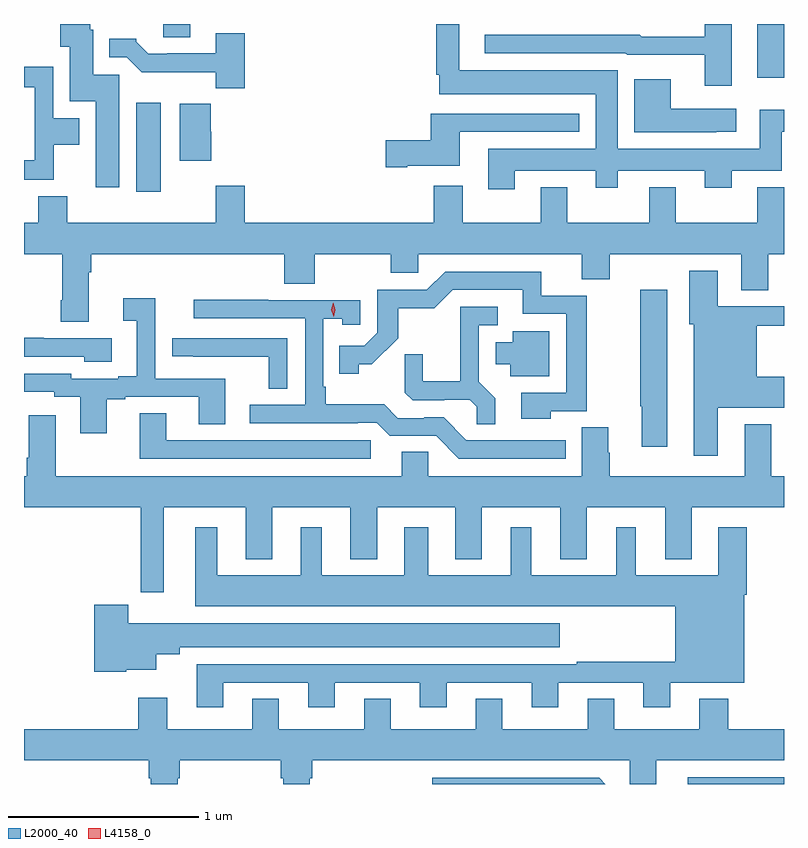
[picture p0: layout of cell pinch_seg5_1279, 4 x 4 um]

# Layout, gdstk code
import gdstk
lib = gdstk.Library(unit=1e-6, precision=1e-09)
def R(c, l, rs):  # rectangles x0, y0, x1, y1
    for r in rs: c.add(gdstk.rectangle(r[:2], r[2:], *l))
def P(c, l, *ps):  # polygons
    for p in ps: c.add(gdstk.Polygon(p, *l))
L2000_40 = (2000, 40)
L4158_0 = (4158, 0)

pinch_seg5_1279 = lib.new_cell('pinch_seg5_1279')
R(pinch_seg5_1279, L2000_40, [(423.113,851.307,423.619,851.343), (420.209,854.424,420.34,854.893), (423.479,855.024,423.619,855.307), (420.353,855.238,420.493,855.307)])
P(pinch_seg5_1279, L2000_40, [(420.121,855.039),(419.983,855.039),(419.983,855.276),(419.967,855.276),(419.967,855.307),(419.81,855.307),(419.81,855.187),(419.861,855.187),(419.861,854.9),(419.996,854.9),(419.996,854.448),(420.121,854.448)],
  [(422.203,854.534),(422.627,854.534),(422.627,854.444),(422.743,854.444),(422.743,854.534),(423.203,854.534),(423.203,854.444),(423.343,854.444),(423.343,854.534),(423.607,854.534),(423.607,854.741),(423.619,854.741),(423.619,854.857),(423.491,854.857),(423.491,854.65),(422.743,854.65),(422.743,855.064),(421.909,855.064),(421.909,855.307),(421.788,855.307),(421.788,855.04),(421.805,855.04),(421.805,854.936),(422.627,854.936),(422.627,854.65),(422.063,854.65),(422.063,854.436),(422.203,854.436)],
  [(423.343,855.307),(423.203,855.307),(423.203,855.24),(422.871,855.24),(422.861,855.25),(422.043,855.25),(422.043,855.153),(422.784,855.153),(422.793,855.144),(423.203,855.144),(423.203,854.982),(423.343,854.982)],
  [(420.782,855.259),(420.629,855.259),(420.629,855.153),(420.373,855.153),(420.373,855.15),(420.274,855.15),(420.21,855.214),(420.21,855.229),(420.068,855.229),(420.068,855.132),(420.159,855.132),(420.238,855.054),(420.627,855.054),(420.627,854.969),(420.782,854.969)],
  [(419.775,854.672),(419.911,854.672),(419.911,854.812),(419.772,854.812),(419.772,855.082),(419.619,855.082),(419.619,854.973),(419.676,854.973),(419.676,854.59),(419.619,854.59),(419.619,854.486),(419.775,854.486)],
  [(423.263,854.739),(423.367,854.739),(423.367,854.86),(423.022,854.86),(423.022,855.016),(422.831,855.016),(422.831,854.738),(423.263,854.738)],
  [(420.604,854.739),(420.602,854.739),(420.602,854.887),(420.44,854.887),(420.44,854.586),(420.604,854.586)],
  [(421.636,854.561),(421.912,854.561),(421.912,854.739),(422.542,854.739),(422.542,854.835),(421.76,854.835),(421.76,854.696),(421.524,854.696),(421.524,854.554),(421.636,854.554)],
  [(419.959,854),(419.972,854),(419.972,854.096),(420.989,854.096),(420.989,853.939),(421.149,853.939),(421.149,854.096),(421.549,854.096),(421.549,853.998),(421.695,853.998),(421.695,854.096),(422.555,854.096),(422.555,853.963),(422.703,853.963),(422.703,854.096),(423.395,854.096),(423.395,853.906),(423.535,853.906),(423.535,854.096),(423.619,854.096),(423.619,854.449),(423.479,854.449),(423.479,854.26),(423.049,854.26),(423.049,854.449),(422.909,854.449),(422.909,854.26),(422.479,854.26),(422.479,854.449),(422.339,854.449),(422.339,854.26),(421.927,854.26),(421.927,854.455),(421.775,854.455),(421.775,854.26),(420.782,854.26),(420.782,854.455),(420.629,854.455),(420.629,854.26),(419.846,854.26),(419.846,854.401),(419.693,854.401),(419.693,854.26),(419.619,854.26),(419.619,854.096),(419.819,854.096),(419.819,853.852),(419.812,853.852),(419.812,853.74),(419.959,853.74)],
  [(423.271,853.286),(423.619,853.286),(423.619,853.45),(423.475,853.45),(423.475,853.72),(423.619,853.72),(423.619,853.821),(423.271,853.821),(423.271,854.008),(423.119,854.008),(423.119,853.728),(423.143,853.728),(423.143,853.035),(423.271,853.035)],
  [(422.391,853.269),(422.581,853.269),(422.581,853.878),(422.342,853.878),(422.342,854.004),(421.836,854.004),(421.74,853.908),(421.479,853.908),(421.479,853.683),(421.41,853.614),(421.279,853.614),(421.279,853.467),(421.38,853.467),(421.38,853.517),(421.45,853.517),(421.588,853.654),(421.588,853.81),(421.777,853.81),(421.875,853.908),(422.243,853.908),(422.243,853.782),(422.472,853.782),(422.472,853.365),(422.235,853.365),(422.235,853.229),(422.391,853.229)],
  [(423.004,853.909),(422.863,853.909),(422.863,853.295),(422.87,853.295),(422.87,853.083),(423.004,853.083)],
  [(420.055,853.332),(420.151,853.332),(420.151,853.344),(420.539,853.344),(420.539,853.201),(420.679,853.201),(420.679,853.44),(420.309,853.44),(420.309,853.864),(420.141,853.864),(420.141,853.744),(420.212,853.744),(420.212,853.453),(420.116,853.453),(420.116,853.44),(419.868,853.44),(419.868,853.467),(419.619,853.467),(419.619,853.371),(419.778,853.371),(419.778,853.344),(419.915,853.344),(419.915,853.152),(420.055,853.152)],
  [(422.47,853.116),(421.947,853.116),(421.827,853.236),(421.726,853.236),(421.726,853.233),(421.587,853.233),(421.514,853.306),(421.207,853.306),(421.207,853.399),(421.194,853.399),(421.194,853.757),(421.293,853.757),(421.293,853.725),(421.389,853.725),(421.389,853.854),(420.905,853.854),(420.905,853.857),(420.513,853.857),(420.513,853.758),(421.098,853.758),(421.098,853.302),(420.807,853.302),(420.807,853.206),(421.376,853.206),(421.376,853.209),(421.476,853.209),(421.545,853.14),(421.788,853.14),(421.908,853.02),(422.47,853.02)],
  [(422.099,853.337),(422.013,853.423),(422.013,853.722),(422.113,853.722),(422.113,853.818),(421.916,853.818),(421.916,853.426),(421.718,853.426),(421.718,853.569),(421.624,853.569),(421.624,853.367),(421.665,853.326),(421.83,853.326),(421.83,853.329),(421.964,853.329),(422.001,853.292),(422.001,853.201),(422.099,853.201)],
  [(422.383,853.69),(422.192,853.69),(422.192,853.633),(422.102,853.633),(422.102,853.517),(422.177,853.517),(422.177,853.454),(422.383,853.454)],
  [(420.082,853.653),(419.723,853.653),(419.723,853.656),(419.619,853.656),(419.619,853.557),(419.937,853.557),(419.937,853.529),(420.082,853.529)],
  [(421.005,853.653),(420.399,853.653),(420.399,853.558),(420.511,853.558),(420.511,853.557),(420.907,853.557),(420.907,853.387),(421.005,853.387)],
  [(421.444,853.116),(420.367,853.116),(420.367,853.259),(420.227,853.259),(420.227,853.02),(421.444,853.02)],
  [(422.581,852.764),(422.993,852.764),(422.993,852.491),(423.133,852.491),(423.133,852.764),(423.619,852.764),(423.619,852.928),(423.553,852.928),(423.553,853.201),(423.413,853.201),(423.413,852.928),(422.703,852.928),(422.703,853.05),(422.695,853.05),(422.695,853.184),(422.555,853.184),(422.555,852.928),(421.746,852.928),(421.746,853.055),(421.607,853.055),(421.607,852.928),(419.785,852.928),(419.785,853.249),(419.645,853.249),(419.645,853.024),(419.633,853.024),(419.633,852.928),(419.619,852.928),(419.619,852.764),(420.234,852.764),(420.234,852.315),(420.355,852.315),(420.355,852.764),(420.785,852.764),(420.785,852.491),(420.925,852.491),(420.925,852.764),(421.337,852.764),(421.337,852.491),(421.477,852.491),(421.477,852.764),(421.889,852.764),(421.889,852.491),(422.029,852.491),(422.029,852.764),(422.441,852.764),(422.441,852.491),(422.581,852.491)],
  [(420.667,851.841),(421.115,851.841),(421.115,851.712),(421.255,851.712),(421.255,851.841),(421.703,851.841),(421.703,851.712),(421.843,851.712),(421.843,851.841),(422.291,851.841),(422.291,851.712),(422.431,851.712),(422.431,851.841),(422.879,851.841),(422.879,851.712),(423.019,851.712),(423.019,851.84),(423.409,851.84),(423.409,852.302),(423.422,852.302),(423.422,852.658),(423.272,852.658),(423.272,852.406),(422.839,852.406),(422.839,852.658),(422.735,852.658),(422.735,852.406),(422.29,852.406),(422.29,852.658),(422.18,852.658),(422.18,852.406),(421.747,852.406),(421.747,852.658),(421.619,852.658),(421.619,852.406),(421.186,852.406),(421.186,852.658),(421.076,852.658),(421.076,852.406),(420.637,852.406),(420.637,852.658),(420.521,852.658),(420.521,852.242),(423.047,852.242),(423.047,851.95),(422.527,851.95),(422.527,851.937),(420.527,851.937),(420.527,851.712),(420.667,851.712)],
  [(420.156,851.909),(420.316,851.909),(420.316,851.99),(420.439,851.99),(420.439,852.026),(422.44,852.026),(422.44,852.154),(420.168,852.154),(420.168,852.25),(419.99,852.25),(419.99,851.897),(420.156,851.897)],
  [(420.427,851.336),(420.44,851.336),(420.44,851.432),(420.971,851.432),(420.971,851.336),(420.983,851.336),(420.983,851.307),(421.123,851.307),(421.123,851.336),(421.136,851.336),(421.136,851.432),(422.808,851.432),(422.808,851.307),(422.947,851.307),(422.947,851.432),(423.619,851.432),(423.619,851.596),(423.326,851.596),(423.326,851.755),(423.173,851.755),(423.173,851.596),(422.725,851.596),(422.725,851.756),(422.585,851.756),(422.585,851.596),(422.137,851.596),(422.137,851.756),(421.997,851.756),(421.997,851.596),(421.549,851.596),(421.549,851.756),(421.409,851.756),(421.409,851.596),(420.961,851.596),(420.961,851.756),(420.821,851.756),(420.821,851.596),(420.373,851.596),(420.373,851.761),(420.221,851.761),(420.221,851.596),(419.619,851.596),(419.619,851.432),(420.275,851.432),(420.275,851.336),(420.287,851.336),(420.287,851.307),(420.427,851.307)],
  [(422.646,851.34),(421.767,851.34),(421.767,851.307),(422.679,851.307)])
P(pinch_seg5_1279, L4158_0, [(421.248,853.766),(421.248,853.767),(421.237,853.802),(421.246,853.839),(421.246,853.839),(421.246,853.839),(421.257,853.803),(421.249,853.767)])

lib.write_gds('pinch_seg5_1279.gds')
